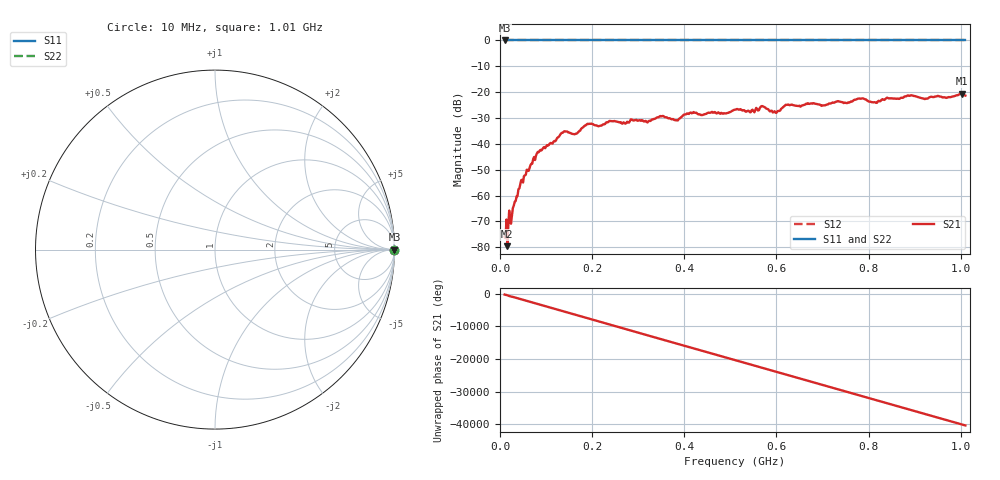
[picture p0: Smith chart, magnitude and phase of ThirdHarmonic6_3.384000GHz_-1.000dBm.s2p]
! 8/17/2025 10:46:04 AM
! C:\ANRITSUVNA\TEMP\TEMP.S2P
! CHANNEL.1
! TR.MEASUREMENT
! RAW.DATA
! RF.CORRECTION.OFF
! AVERAGING.OFF
! IF.BANDWIDTH: 5KHZ
! SWEEPTYPE:  FREQ.SWEEP(Linear)
! Reference Plane Port Info
! PORT:  PORT1  PORT2
! DISTANCE:  0  m  0  m
! TIME:  0  s  0  s
! PHASE.OFFSET:  0  deg.  0  deg.
! LOSS:  0  dB  0  dB
! REF.LOSS:  0  dB  0  dB
! REF.FREQ:  0  Hz  0  Hz
! Power Info
! POWER:  -20  dBm  -20  dBm
! EFF.POWER:  -20  dBm  -20  dBm
! SOURCE.ATTEN:  0  dB  0  dB
! TEST.ATTEN:  0  dB  0  dB
# GHZ S RI R 50.0
! FREQ.GHZ  S11RE  S11IM  S21RE  S21IM  S12RE  S12IM  S22RE  S22IM
!; PortSelection: Port_12
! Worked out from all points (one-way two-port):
!   501 points, 10 MHz to 1.01 GHz, reference 50 ohm
!   highest |S21| = -20.65 dB at 1.002 GHz (marker M1); lowest = -79.6 dB at 16 MHz (marker M2)
!   lowest |S11| = 0.0 dB at 10 MHz (marker M3)
!   |S11| at or under -10 dB: nowhere
!   |S22| runs from 0.0 to 0.0 dB; largest |S21 - S12| = 1.1
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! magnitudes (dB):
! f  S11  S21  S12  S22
! 10 MHz  0.0  -76.0  0.0  0.0
! 12 MHz  0.0  -76.5  0.0  0.0
! 16 MHz  0.0  -79.6  0.0  0.0
! 20 MHz  0.0  -65.8  0.0  0.0
! 44 MHz  0.0  -55.7  0.0  0.0
! 82 MHz  0.0  -43.1  0.0  0.0
! 136 MHz  0.0  -35.7  0.0  0.0
! 164 MHz  0.0  -36.1  0.0  0.0
! 178 MHz  0.0  -33.9  0.0  0.0
! 194 MHz  0.0  -32.2  0.0  0.0
! 344 MHz  0.0  -29.7  0.0  0.0
! 382 MHz  0.0  -30.8  0.0  0.0
! 416 MHz  0.0  -28.2  0.0  0.0
! 510 MHz  0.0  -26.8  0.0  0.0
! 548 MHz  0.0  -26.8  0.0  0.0
! 570 MHz  0.0  -25.4  0.0  0.0
! 596 MHz  0.0  -27.4  0.0  0.0
! 622 MHz  0.0  -24.9  0.0  0.0
! 678 MHz  0.0  -24.4  0.0  0.0
! 844 MHz  0.0  -22.4  0.0  0.0
! 1.002 GHz  0.0  -20.6  0.0  0.0
! 1.01 GHz  0.0  -21.3  0.0  0.0
